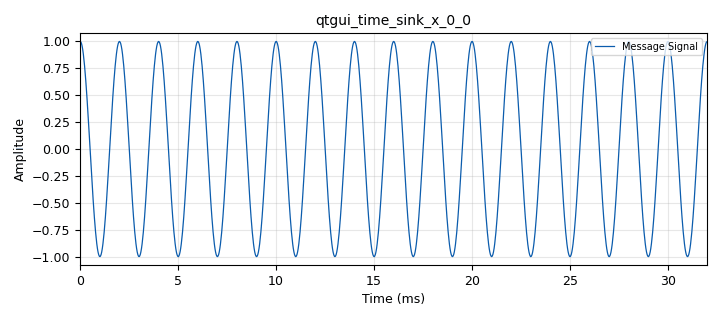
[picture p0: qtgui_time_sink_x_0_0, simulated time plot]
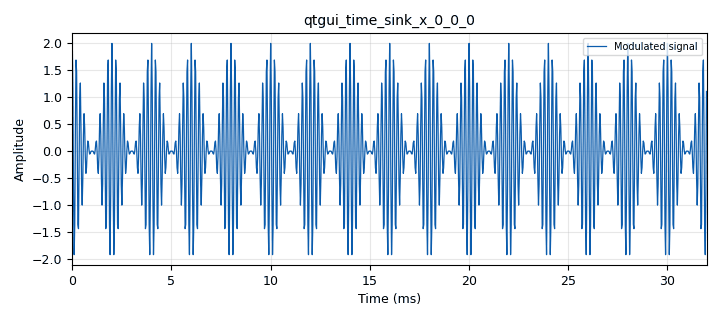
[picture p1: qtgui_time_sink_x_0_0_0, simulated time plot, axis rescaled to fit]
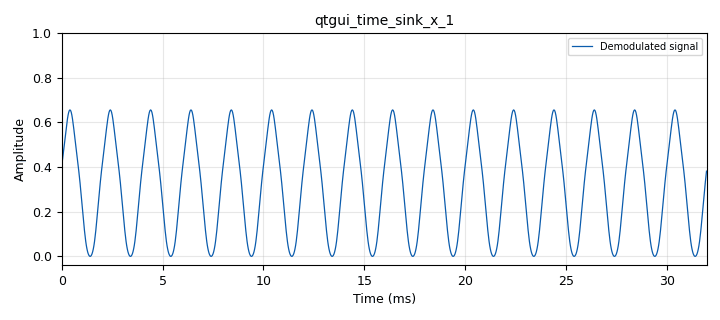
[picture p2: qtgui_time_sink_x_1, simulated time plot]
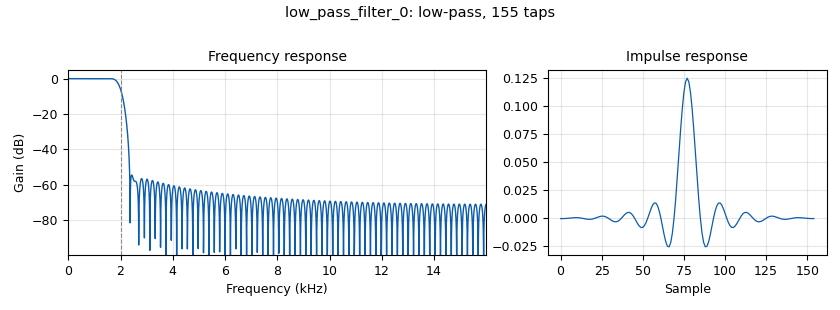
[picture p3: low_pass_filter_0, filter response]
options:
  parameters:
    generate_options: qt_gui
    id: top_block
    output_language: python
    title: Not titled yet
  states: {}

blocks:
- name: samp_rate
  id: variable
  parameters:
    value: '32000'
  states: {}
- name: analog_sig_source_x_0
  id: analog_sig_source_x
  parameters:
    amp: '1'
    comment: Baseband signal
    freq: '500'
    offset: '0'
    phase: '0'
    samp_rate: samp_rate
    type: float
    waveform: analog.GR_COS_WAVE
  states: {}
- name: analog_sig_source_x_1
  id: analog_sig_source_x
  parameters:
    amp: '1'
    comment: Carrier signal
    freq: '5000'
    offset: '0'
    phase: '0'
    samp_rate: samp_rate
    type: float
    waveform: analog.GR_COS_WAVE
  states: {}
- name: blocks_add_const_vxx_0
  id: blocks_add_const_vxx
  parameters:
    const: '1'
    type: float
  states: {}
- name: blocks_max_xx_0
  id: blocks_max_xx
  parameters:
    num_inputs: '2'
    type: float
  states: {}
- name: blocks_multiply_const_vxx_0
  id: blocks_multiply_const_vxx
  parameters:
    const: '1.0'
    type: float
  states: {}
- name: blocks_multiply_xx_0
  id: blocks_multiply_xx
  parameters:
    type: float
  states: {}
- name: blocks_null_source_0
  id: blocks_null_source
  parameters:
    type: float
  states: {}
- name: blocks_throttle_0
  id: blocks_throttle
  parameters:
    samples_per_second: samp_rate
    type: float
  states: {}
- name: low_pass_filter_0
  id: low_pass_filter
  parameters:
    cutoff_freq: '2000'
    decim: '1'
    gain: '1'
    samp_rate: samp_rate
    type: fir_filter_fff
    width: '500'
    win: firdes.WIN_HAMMING
  states: {}
- name: qtgui_time_sink_x_0_0
  id: qtgui_time_sink_x
  parameters:
    entags: 'False'
    gui_hint: '[0,0]'
    label1: Message Signal
    size: '1024'
    srate: samp_rate
    type: float
  states: {}
- name: qtgui_time_sink_x_0_0_0
  id: qtgui_time_sink_x
  parameters:
    color1: green
    entags: 'False'
    gui_hint: '[1,0]'
    label1: Modulated signal
    size: '1024'
    srate: samp_rate
    type: float
  states: {}
- name: qtgui_time_sink_x_1
  id: qtgui_time_sink_x
  parameters:
    color1: dark blue
    gui_hint: '[2,0]'
    label1: Demodulated signal
    size: '1024'
    srate: samp_rate
    type: float
    ymin: '0'
  states: {}

connections:
- [analog_sig_source_x_0, '0', blocks_multiply_const_vxx_0, '0']
- [analog_sig_source_x_0, '0', qtgui_time_sink_x_0_0, '0']
- [analog_sig_source_x_1, '0', blocks_throttle_0, '0']
- [blocks_add_const_vxx_0, '0', blocks_multiply_xx_0, '0']
- [blocks_max_xx_0, '0', low_pass_filter_0, '0']
- [blocks_multiply_const_vxx_0, '0', blocks_add_const_vxx_0, '0']
- [blocks_multiply_xx_0, '0', blocks_max_xx_0, '1']
- [blocks_multiply_xx_0, '0', qtgui_time_sink_x_0_0_0, '0']
- [blocks_null_source_0, '0', blocks_max_xx_0, '0']
- [blocks_throttle_0, '0', blocks_multiply_xx_0, '1']
- [low_pass_filter_0, '0', qtgui_time_sink_x_1, '0']

metadata:
  file_format: 1
